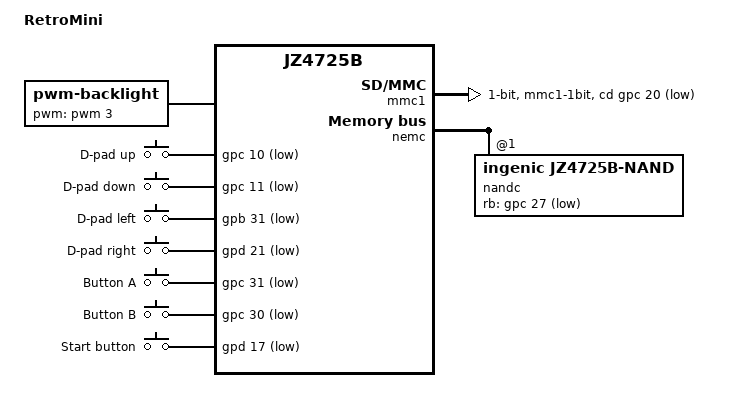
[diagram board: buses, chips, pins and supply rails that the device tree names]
// SPDX-License-Identifier: GPL-2.0
/dts-v1/;

#include "jz4725b.dtsi"

#include <dt-bindings/gpio/gpio.h>
#include <dt-bindings/input/input.h>

/ {
	compatible = "retromini", "ingenic,jz4725b";
	model = "RetroMini";

	aliases {
		serial0 = &uart;
	};

	chosen {
		stdout-path = "serial0:57600n8";
	};

	board {
		#address-cells = <1>;
		#size-cells = <1>;
		compatible = "simple-bus";
		ranges = <>;

		backlight {
			compatible = "pwm-backlight";
			pwms = <&pwm 3 40000 0>;

			brightness-levels = <0 16 32 48 64 80 96 112 128 144 160 176 192 208 224 240 255>;
			default-brightness-level = <12>;

			pinctrl-names = "default";
			pinctrl-0 = <&pins_pwm3>;
		};

		gpio-keys {
			compatible = "gpio-keys";
			#address-cells = <1>;
			#size-cells = <0>;

			autorepeat;

			button@0 {
				label = "D-pad up";
				linux,code = <KEY_UP>;
				gpios = <&gpc 10 GPIO_ACTIVE_LOW>;
				debounce-interval = <10>;
			};

			button@1 {
				label = "D-pad down";
				linux,code = <KEY_DOWN>;
				gpios = <&gpc 11 GPIO_ACTIVE_LOW>;
				debounce-interval = <10>;
			};

			button@2 {
				label = "D-pad left";
				linux,code = <KEY_LEFT>;
				gpios = <&gpb 31 GPIO_ACTIVE_LOW>;
				debounce-interval = <10>;
			};

			button@3 {
				label = "D-pad right";
				linux,code = <KEY_RIGHT>;
				gpios = <&gpd 21 GPIO_ACTIVE_LOW>;
				debounce-interval = <10>;
			};

			button@4 {
				label = "Button A";
				linux,code = <KEY_A>;
				gpios = <&gpc 31 GPIO_ACTIVE_LOW>;
				debounce-interval = <10>;
			};

			button@5 {
				label = "Button B";
				linux,code = <KEY_B>;
				gpios = <&gpc 30 GPIO_ACTIVE_LOW>;
				debounce-interval = <10>;
			};

/*
			button@6 {
				label = "Left shoulder button";
				linux,code = <KEY_TAB>;
				gpios = <&gpc 9 GPIO_ACTIVE_HIGH>;
				debounce-interval = <10>;
			};

			button@7 {
				label = "Right shoulder button";
				linux,code = <KEY_BACKSPACE>;
				gpios = <&gpc 12 GPIO_ACTIVE_LOW>;
				debounce-interval = <10>;
			};
			*/

			button@8 {
				label = "Start button";
				linux,code = <KEY_ENTER>;
				gpios = <&gpd 17 GPIO_ACTIVE_LOW>;
				debounce-interval = <10>;
			};
		};
	};
};

&ext {
	clock-frequency = <12000000>;
};

&rtc_dev {
	system-power-controller;
};

&pinctrl {
	pins_mmc1: mmc1 {
		function = "mmc1";
		groups = "mmc1-1bit";
	};

	pins_uart: uart {
		function = "uart";
		groups = "uart-data";
	};

	pins_nemc: nemc {
		function = "nand";
		groups = "nand-cs1", "nand-cle-ale", "nand-fre-fwe";
	};

	pins_pwm3: pwm3 {
		function = "pwm3";
		groups = "pwm3";
		bias-disable;
	};

};

&mmc0 {
	status = "disabled";
};

&mmc1 {
	bus-width = <1>;

	pinctrl-names = "default";
	pinctrl-0 = <&pins_mmc1>;

	cd-gpios = <&gpc 20 GPIO_ACTIVE_LOW>;
};

&uart {
	status = "disabled";

	pinctrl-names = "default";
	pinctrl-0 = <&pins_uart>;
};

&nemc {
	nandc: nand-controller@1 {
		compatible = "ingenic,jz4725b-nand";
		reg = <1 0 0x4000000>;

		#address-cells = <1>;
		#size-cells = <0>;

		ingenic,bch-controller = <&bch>;

		ingenic,nemc-tAS = <10>;
		ingenic,nemc-tAH = <5>;
		ingenic,nemc-tBP = <10>;
		ingenic,nemc-tAW = <15>;
		ingenic,nemc-tSTRV = <100>;

		pinctrl-names = "default";
		pinctrl-0 = <&pins_nemc>;

		rb-gpios = <&gpc 27 GPIO_ACTIVE_LOW>;

		nand@1 {
			reg = <1>;

			nand-ecc-step-size = <512>;
			nand-ecc-strength = <8>;
			nand-ecc-mode = "hw";
		};
	};
};

&cgu {
	assigned-clocks = <&cgu JZ4725B_CLK_RTC>;
	assigned-clock-parents = <&cgu JZ4725B_CLK_OSC32K>;
};

&timer {
	/* 750 kHz for the system timer and clocksource */
	assigned-clocks = <&tcu TCU_CLK_TIMER0>, <&tcu TCU_CLK_TIMER1>;
	assigned-clock-rates = <750000>, <750000>;
};
